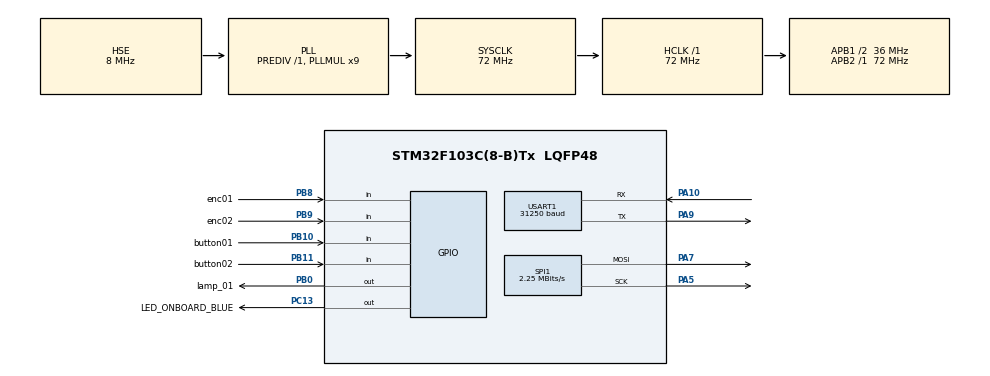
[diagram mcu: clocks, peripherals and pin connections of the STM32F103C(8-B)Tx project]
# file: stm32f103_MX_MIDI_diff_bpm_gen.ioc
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Dma.Request0=SPI1_TX
Dma.SPI1_TX.0.Direction=DMA_MEMORY_TO_PERIPH
Dma.SPI1_TX.0.Instance=DMA1_Channel3
Dma.SPI1_TX.0.MemDataAlignment=DMA_MDATAALIGN_BYTE
Dma.SPI1_TX.0.MemInc=DMA_MINC_ENABLE
Dma.SPI1_TX.0.Mode=DMA_NORMAL
Dma.SPI1_TX.0.PeriphDataAlignment=DMA_PDATAALIGN_BYTE
Dma.SPI1_TX.0.PeriphInc=DMA_PINC_DISABLE
Dma.SPI1_TX.0.Priority=DMA_PRIORITY_LOW
FREERTOS.HEAP_NUMBER=1
FREERTOS.INCLUDE_vTaskDelete=0
FREERTOS.Tasks01=defaultTask,0,128,StartDefaultTask,Default,NULL,Dynamic,NULL,NULL;LedTask,-3,128,StartLedTask,Default,NULL,Dynamic,NULL,NULL;lamp_Task,-3,128,Start_lamp_Task,Default,NULL,Dynamic,NULL,NULL;Perf_Task,-3,256,Start_Perf_Task,Default,NULL,Dynamic,NULL,NULL
FREERTOS.Timers01=timer01,timer01_callback,osTimerOnce,Default,NULL,Dynamic,NULL
FREERTOS.configTOTAL_HEAP_SIZE=6000
FREERTOS.configUSE_TIMERS=1
Mcu.Family=STM32F1
Mcu.Name=STM32F103C(8-B)Tx
Mcu.Package=LQFP48
NVIC.DMA1_Channel3_IRQn=true\:5\:0\:false\:false\:true\:true
NVIC.PriorityGroup=NVIC_PRIORITYGROUP_4
NVIC.TIM1_UP_IRQn=true\:5\:0\:false\:false\:true\:true
NVIC.TIM2_IRQn=true\:0\:0\:false\:false\:true\:false
NVIC.TimeBase=TIM2_IRQn
NVIC.TimeBaseIP=TIM2
NVIC.USART1_IRQn=true\:5\:0\:false\:false\:true\:true
PA10.Mode=Asynchronous
PA10.Signal=USART1_RX
PA13.Mode=Serial_Wire
PA13.Signal=SYS_JTMS-SWDIO
PA14.Mode=Serial_Wire
PA14.Signal=SYS_JTCK-SWCLK
PA5.Mode=TX_Only_Simplex_Unidirect_Master
PA5.Signal=SPI1_SCK
PA7.Mode=TX_Only_Simplex_Unidirect_Master
PA7.Signal=SPI1_MOSI
PA9.Mode=Asynchronous
PA9.Signal=USART1_TX
PB0.GPIO_Label=lamp_01
PB0.GPIO_ModeDefaultOutputPP=GPIO_MODE_OUTPUT_OD
PB0.Signal=GPIO_Output
PB10.GPIO_Label=button01
PB10.GPIO_PuPd=GPIO_PULLUP
PB10.Signal=GPIO_Input
PB11.GPIO_Label=button02
PB11.GPIO_PuPd=GPIO_PULLUP
PB11.Signal=GPIO_Input
PB8.GPIO_Label=enc01
PB8.GPIO_PuPd=GPIO_PULLUP
PB8.Signal=GPIO_Input
PB9.GPIO_Label=enc02
PB9.GPIO_PuPd=GPIO_PULLUP
PB9.Signal=GPIO_Input
PC13-TAMPER-RTC.GPIO_Label=LED_ONBOARD_BLUE
PC13-TAMPER-RTC.GPIO_ModeDefaultOutputPP=GPIO_MODE_OUTPUT_OD
PC13-TAMPER-RTC.Signal=GPIO_Output
PC14-OSC32_IN.Mode=LSE-External-Oscillator
PC14-OSC32_IN.Signal=RCC_OSC32_IN
PC15-OSC32_OUT.Mode=LSE-External-Oscillator
PC15-OSC32_OUT.Signal=RCC_OSC32_OUT
PD0-OSC_IN.Mode=HSE-External-Oscillator
PD0-OSC_IN.Signal=RCC_OSC_IN
PD1-OSC_OUT.Mode=HSE-External-Oscillator
PD1-OSC_OUT.Signal=RCC_OSC_OUT
ProjectManager.HeapSize=0x200
ProjectManager.StackSize=0x400
ProjectManager.TargetToolchain=TrueSTUDIO
RCC.AHBFreq_Value=72000000
RCC.APB1CLKDivider=RCC_HCLK_DIV2
RCC.APB1Freq_Value=36000000
RCC.APB1TimFreq_Value=72000000
RCC.APB2Freq_Value=72000000
RCC.APB2TimFreq_Value=72000000
RCC.HCLKFreq_Value=72000000
RCC.OscillatorTypeHSI=RCC_OSCILLATORTYPE_HSI
RCC.PLLMUL=RCC_PLL_MUL9
RCC.PLLSourceVirtual=RCC_PLLSOURCE_HSE
RCC.RCC_PERIPHCLK_RTCVar=RCC_PERIPHCLK_RTC
RCC.SYSCLKFreq_VALUE=72000000
RCC.SYSCLKSource=RCC_SYSCLKSOURCE_PLLCLK
RCC.USBFreq_Value=72000000
SPI1.BaudRatePrescaler=SPI_BAUDRATEPRESCALER_32
SPI1.CalculateBaudRate=2.25 MBits/s
SPI1.Direction=SPI_DIRECTION_2LINES
SPI1.Mode=SPI_MODE_MASTER
SPI1.VirtualType=VM_MASTER
TIM1.Prescaler=0
USART1.BaudRate=31250
USART1.VirtualMode=VM_ASYNC
VP_FREERTOS_VS_ENABLE.Mode=Enabled
VP_SYS_VS_tim2.Mode=TIM2
VP_TIM1_VS_ClockSourceINT.Mode=Internal
board=stm32f103_MX_MIDI_diff_bpm_gen

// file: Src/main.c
/**
  ******************************************************************************
  * File Name          : main.c
  * Description        : Main program body
  ******************************************************************************
  * This notice applies to any and all portions of this file
  * that are not between comment pairs USER CODE BEGIN and
  * USER CODE END. Other portions of this file, whether
  * inserted by the user or by software development tools
  * are owned by their respective copyright owners.
  *
  * Copyright (c) 2017 STMicroelectronics International N.V.
  * All rights reserved.
  *
  * Redistribution and use in source and binary forms, with or without
  * modification, are permitted, provided that the following conditions are met:
  *
  * 1. Redistribution of source code must retain the above copyright notice,
  *    this list of conditions and the following disclaimer.
  * 2. Redistributions in binary form must reproduce the above copyright notice,
  *    this list of conditions and the following disclaimer in the documentation
  *    and/or other materials provided with the distribution.
  * 3. Neither the name of STMicroelectronics nor the names of other
  *    contributors to this software may be used to endorse or promote products
  *    derived from this software without specific written permission.
  * 4. This software, including modifications and/or derivative works of this
  *    software, must execute solely and exclusively on microcontroller or
  *    microprocessor devices manufactured by or for STMicroelectronics.
  * 5. Redistribution and use of this software other than as permitted under
  *    this license is void and will automatically terminate your rights under
  *    this license.
  *
  * THIS SOFTWARE IS PROVIDED BY STMICROELECTRONICS AND CONTRIBUTORS "AS IS"
  * AND ANY EXPRESS, IMPLIED OR STATUTORY WARRANTIES, INCLUDING, BUT NOT
  * LIMITED TO, THE IMPLIED WARRANTIES OF MERCHANTABILITY, FITNESS FOR A
  * PARTICULAR PURPOSE AND NON-INFRINGEMENT OF THIRD PARTY INTELLECTUAL PROPERTY
  * RIGHTS ARE DISCLAIMED TO THE FULLEST EXTENT PERMITTED BY LAW. IN NO EVENT
  * SHALL STMICROELECTRONICS OR CONTRIBUTORS BE LIABLE FOR ANY DIRECT, INDIRECT,
  * INCIDENTAL, SPECIAL, EXEMPLARY, OR CONSEQUENTIAL DAMAGES (INCLUDING, BUT NOT
  * LIMITED TO, PROCUREMENT OF SUBSTITUTE GOODS OR SERVICES; LOSS OF USE, DATA,
  * OR PROFITS; OR BUSINESS INTERRUPTION) HOWEVER CAUSED AND ON ANY THEORY OF
  * LIABILITY, WHETHER IN CONTRACT, STRICT LIABILITY, OR TORT (INCLUDING
  * NEGLIGENCE OR OTHERWISE) ARISING IN ANY WAY OUT OF THE USE OF THIS SOFTWARE,
  * EVEN IF ADVISED OF THE POSSIBILITY OF SUCH DAMAGE.
  *
  ******************************************************************************
  */
#include "main.h"
#include "stm32f1xx_hal.h"
#include "cmsis_os.h"

SPI_HandleTypeDef hspi1;
DMA_HandleTypeDef hdma_spi1_tx;

TIM_HandleTypeDef htim1;

UART_HandleTypeDef huart1;

osThreadId defaultTaskHandle;
osThreadId LedTaskHandle;
osThreadId lamp_TaskHandle;
osThreadId Perf_TaskHandle;
osTimerId timer01Handle;

/* USER CODE BEGIN PV */
/* Private variables ---------------------------------------------------------*/

/* USER CODE END PV */

void SystemClock_Config(void);
static void MX_GPIO_Init(void);
static void MX_DMA_Init(void);
static void MX_TIM1_Init(void);
static void MX_USART1_UART_Init(void);
static void MX_SPI1_Init(void);
void StartDefaultTask(void const * argument);
void StartLedTask(void const * argument);
void Start_lamp_Task(void const * argument);
void Start_Perf_Task(void const * argument);
void timer01_callback(void const * argument);

/* USER CODE BEGIN PFP */
/* Private function prototypes -----------------------------------------------*/

/* USER CODE END PFP */

int main(void)
{

  /* MCU Configuration----------------------------------------------------------*/

  /* Reset of all peripherals, Initializes the Flash interface and the Systick. */
  HAL_Init();

  /* Configure the system clock */
  SystemClock_Config();

  /* Initialize all configured peripherals */
  MX_GPIO_Init();
  MX_DMA_Init();
  MX_TIM1_Init();
  MX_USART1_UART_Init();
  MX_SPI1_Init();

  /* USER CODE BEGIN 2 */
  	  Onboard_led_OFF();
  	  lamp01_OFF();
  /* USER CODE END 2 */

  /* Create the timer(s) */
  /* definition and creation of timer01 */
  osTimerDef(timer01, timer01_callback);
  timer01Handle = osTimerCreate(osTimer(timer01), osTimerOnce, NULL);

  /* Create the thread(s) */
  /* definition and creation of defaultTask */
  osThreadDef(defaultTask, StartDefaultTask, osPriorityNormal, 0, 128);
  defaultTaskHandle = osThreadCreate(osThread(defaultTask), NULL);

  /* definition and creation of LedTask */
  osThreadDef(LedTask, StartLedTask, osPriorityIdle, 0, 128);
  LedTaskHandle = osThreadCreate(osThread(LedTask), NULL);

  /* definition and creation of lamp_Task */
  osThreadDef(lamp_Task, Start_lamp_Task, osPriorityIdle, 0, 128);
  lamp_TaskHandle = osThreadCreate(osThread(lamp_Task), NULL);

  /* definition and creation of Perf_Task */
  osThreadDef(Perf_Task, Start_Perf_Task, osPriorityIdle, 0, 256);
  Perf_TaskHandle = osThreadCreate(osThread(Perf_Task), NULL);

  /* Start scheduler */
  osKernelStart();

  /* We should never get here as control is now taken by the scheduler */

  /* Infinite loop */
  while (1)
  {

  }

}

/** System Clock Configuration
*/
void SystemClock_Config(void)
{

  RCC_OscInitTypeDef RCC_OscInitStruct;
  RCC_ClkInitTypeDef RCC_ClkInitStruct;

    /**Initializes the CPU, AHB and APB busses clocks
    */
  RCC_OscInitStruct.OscillatorType = RCC_OSCILLATORTYPE_HSI|RCC_OSCILLATORTYPE_HSE;
  RCC_OscInitStruct.HSEState = RCC_HSE_ON;
  RCC_OscInitStruct.HSEPredivValue = RCC_HSE_PREDIV_DIV1;
  RCC_OscInitStruct.HSIState = RCC_HSI_ON;
  RCC_OscInitStruct.PLL.PLLState = RCC_PLL_ON;
  RCC_OscInitStruct.PLL.PLLSource = RCC_PLLSOURCE_HSE;
  RCC_OscInitStruct.PLL.PLLMUL = RCC_PLL_MUL9;
  if (HAL_RCC_OscConfig(&RCC_OscInitStruct) != HAL_OK)
  {
    _Error_Handler(__FILE__, __LINE__);
  }

    /**Initializes the CPU, AHB and APB busses clocks
    */
  RCC_ClkInitStruct.ClockType = RCC_CLOCKTYPE_HCLK|RCC_CLOCKTYPE_SYSCLK
                              |RCC_CLOCKTYPE_PCLK1|RCC_CLOCKTYPE_PCLK2;
  RCC_ClkInitStruct.SYSCLKSource = RCC_SYSCLKSOURCE_PLLCLK;
  RCC_ClkInitStruct.AHBCLKDivider = RCC_SYSCLK_DIV1;
  RCC_ClkInitStruct.APB1CLKDivider = RCC_HCLK_DIV2;
  RCC_ClkInitStruct.APB2CLKDivider = RCC_HCLK_DIV1;

  if (HAL_RCC_ClockConfig(&RCC_ClkInitStruct, FLASH_LATENCY_2) != HAL_OK)
  {
    _Error_Handler(__FILE__, __LINE__);
  }

    /**Configure the Systick interrupt time
    */
  HAL_SYSTICK_Config(HAL_RCC_GetHCLKFreq()/1000);

    /**Configure the Systick
    */
  HAL_SYSTICK_CLKSourceConfig(SYSTICK_CLKSOURCE_HCLK);

  /* SysTick_IRQn interrupt configuration */
  HAL_NVIC_SetPriority(SysTick_IRQn, 15, 0);
}

/* SPI1 init function */
static void MX_SPI1_Init(void)
{

  hspi1.Instance = SPI1;
  hspi1.Init.Mode = SPI_MODE_MASTER;
  hspi1.Init.Direction = SPI_DIRECTION_2LINES;
  hspi1.Init.DataSize = SPI_DATASIZE_8BIT;
  hspi1.Init.CLKPolarity = SPI_POLARITY_LOW;
  hspi1.Init.CLKPhase = SPI_PHASE_1EDGE;
  hspi1.Init.NSS = SPI_NSS_SOFT;
  hspi1.Init.BaudRatePrescaler = SPI_BAUDRATEPRESCALER_32;
  hspi1.Init.FirstBit = SPI_FIRSTBIT_MSB;
  hspi1.Init.TIMode = SPI_TIMODE_DISABLE;
  hspi1.Init.CRCCalculation = SPI_CRCCALCULATION_DISABLE;
  hspi1.Init.CRCPolynomial = 10;
  if (HAL_SPI_Init(&hspi1) != HAL_OK)
  {
    _Error_Handler(__FILE__, __LINE__);
  }

}

/* TIM1 init function */
static void MX_TIM1_Init(void)
{

  TIM_ClockConfigTypeDef sClockSourceConfig;
  TIM_MasterConfigTypeDef sMasterConfig;

  htim1.Instance = TIM1;
  htim1.Init.Prescaler = 0;
  htim1.Init.CounterMode = TIM_COUNTERMODE_UP;
  htim1.Init.Period = 0;
  htim1.Init.ClockDivision = TIM_CLOCKDIVISION_DIV1;
  htim1.Init.RepetitionCounter = 0;
  if (HAL_TIM_Base_Init(&htim1) != HAL_OK)
  {
    _Error_Handler(__FILE__, __LINE__);
  }

  sClockSourceConfig.ClockSource = TIM_CLOCKSOURCE_INTERNAL;
  if (HAL_TIM_ConfigClockSource(&htim1, &sClockSourceConfig) != HAL_OK)
  {
    _Error_Handler(__FILE__, __LINE__);
  }

  sMasterConfig.MasterOutputTrigger = TIM_TRGO_RESET;
  sMasterConfig.MasterSlaveMode = TIM_MASTERSLAVEMODE_DISABLE;
  if (HAL_TIMEx_MasterConfigSynchronization(&htim1, &sMasterConfig) != HAL_OK)
  {
    _Error_Handler(__FILE__, __LINE__);
  }

}

/* USART1 init function */
static void MX_USART1_UART_Init(void)
{

  huart1.Instance = USART1;
  huart1.Init.BaudRate = 31250;
  huart1.Init.WordLength = UART_WORDLENGTH_8B;
  huart1.Init.StopBits = UART_STOPBITS_1;
  huart1.Init.Parity = UART_PARITY_NONE;
  huart1.Init.Mode = UART_MODE_TX_RX;
  huart1.Init.HwFlowCtl = UART_HWCONTROL_NONE;
  huart1.Init.OverSampling = UART_OVERSAMPLING_16;
  if (HAL_UART_Init(&huart1) != HAL_OK)
  {
    _Error_Handler(__FILE__, __LINE__);
  }

}

static void MX_DMA_Init(void)
{
  /* DMA controller clock enable */
  __HAL_RCC_DMA1_CLK_ENABLE();

  /* DMA interrupt init */
  /* DMA1_Channel3_IRQn interrupt configuration */
  HAL_NVIC_SetPriority(DMA1_Channel3_IRQn, 5, 0);
  HAL_NVIC_EnableIRQ(DMA1_Channel3_IRQn);

}

/** Configure pins as
        * Analog
        * Input
        * Output
        * EVENT_OUT
        * EXTI
*/
static void MX_GPIO_Init(void)
{

  GPIO_InitTypeDef GPIO_InitStruct;

  /* GPIO Ports Clock Enable */
  __HAL_RCC_GPIOC_CLK_ENABLE();
  __HAL_RCC_GPIOD_CLK_ENABLE();
  __HAL_RCC_GPIOA_CLK_ENABLE();
  __HAL_RCC_GPIOB_CLK_ENABLE();

  /*Configure GPIO pin Output Level */
  HAL_GPIO_WritePin(LED_ONBOARD_BLUE_GPIO_Port, LED_ONBOARD_BLUE_Pin, GPIO_PIN_RESET);

  /*Configure GPIO pin Output Level */
  HAL_GPIO_WritePin(lamp_01_GPIO_Port, lamp_01_Pin, GPIO_PIN_RESET);

  /*Configure GPIO pin : LED_ONBOARD_BLUE_Pin */
  GPIO_InitStruct.Pin = LED_ONBOARD_BLUE_Pin;
  GPIO_InitStruct.Mode = GPIO_MODE_OUTPUT_OD;
  GPIO_InitStruct.Speed = GPIO_SPEED_FREQ_LOW;
  HAL_GPIO_Init(LED_ONBOARD_BLUE_GPIO_Port, &GPIO_InitStruct);

  /*Configure GPIO pin : lamp_01_Pin */
  GPIO_InitStruct.Pin = lamp_01_Pin;
  GPIO_InitStruct.Mode = GPIO_MODE_OUTPUT_OD;
  GPIO_InitStruct.Speed = GPIO_SPEED_FREQ_LOW;
  HAL_GPIO_Init(lamp_01_GPIO_Port, &GPIO_InitStruct);

  /*Configure GPIO pins : button01_Pin button02_Pin enc01_Pin enc02_Pin */
  GPIO_InitStruct.Pin = button01_Pin|button02_Pin|enc01_Pin|enc02_Pin;
  GPIO_InitStruct.Mode = GPIO_MODE_INPUT;
  GPIO_InitStruct.Pull = GPIO_PULLUP;
  HAL_GPIO_Init(GPIOB, &GPIO_InitStruct);

}

/* USER CODE BEGIN 4 */

void Onboard_led_ON(void){
	HAL_GPIO_WritePin(LED_ONBOARD_BLUE_GPIO_Port, LED_ONBOARD_BLUE_Pin, GPIO_PIN_RESET);
}
void Onboard_led_OFF(void){
	HAL_GPIO_WritePin(LED_ONBOARD_BLUE_GPIO_Port, LED_ONBOARD_BLUE_Pin, GPIO_PIN_SET);
}

void lamp01_ON(void){
	HAL_GPIO_WritePin(lamp_01_GPIO_Port, lamp_01_Pin, GPIO_PIN_SET);
}
void lamp01_OFF(void){
	HAL_GPIO_WritePin(lamp_01_GPIO_Port, lamp_01_Pin, GPIO_PIN_RESET);
}
/* USER CODE END 4 */

/* StartDefaultTask function */
void StartDefaultTask(void const * argument)
{

  /* USER CODE BEGIN 5 */
  /* Infinite loop */
  for(;;)
  {
//	Onboard_led_ON();
//    osDelay(100);
//	Onboard_led_OFF();

    osDelay(100);

  }
  /* USER CODE END 5 */
}

/* StartLedTask function */
void StartLedTask(void const * argument)
{
  /* USER CODE BEGIN StartLedTask */
  /* Infinite loop */

//	  for(;;)
//	  {
//
//			HAL_GPIO_WritePin(LED_ONBOARD_BLUE_GPIO_Port, LED_ONBOARD_BLUE_Pin, GPIO_PIN_SET);
//			osDelay(100);
//			HAL_GPIO_WritePin(LED_ONBOARD_BLUE_GPIO_Port, LED_ONBOARD_BLUE_Pin, GPIO_PIN_RESET);
//
//	    osDelay(100);
//	  }

	led_task();
//  for(;;)
//  {
//    osDelay(1);
//  }
  /* USER CODE END StartLedTask */
}

/* Start_lamp_Task function */
void Start_lamp_Task(void const * argument)
{
  /* USER CODE BEGIN Start_lamp_Task */
  /* Infinite loop */

//  for(;;)
//  {
//    osDelay(10);
//  }
	lcd_Task();

  /* USER CODE END Start_lamp_Task */
}

/* Start_Perf_Task function */
void Start_Perf_Task(void const * argument)
{
  /* USER CODE BEGIN Start_Perf_Task */
  /* Infinite loop */
//  for(;;)
//  {
//    osDelay(1);
//  }
	Perf_Task();

  /* USER CODE END Start_Perf_Task */
}

/* timer01_callback function */
void timer01_callback(void const * argument)
{
}

void HAL_TIM_PeriodElapsedCallback(TIM_HandleTypeDef *htim)
{
  if (htim->Instance == TIM2) {
    HAL_IncTick();
  }
/* USER CODE BEGIN Callback 1 */
  if (htim->Instance == TIM1) {
    TIM1_PeriodElapsedCallback();
  }
/* USER CODE END Callback 1 */
}

void _Error_Handler(char * file, int line)
{
  while(1)
  {
  }
}

/************************ (C) COPYRIGHT STMicroelectronics *****END OF FILE****/
